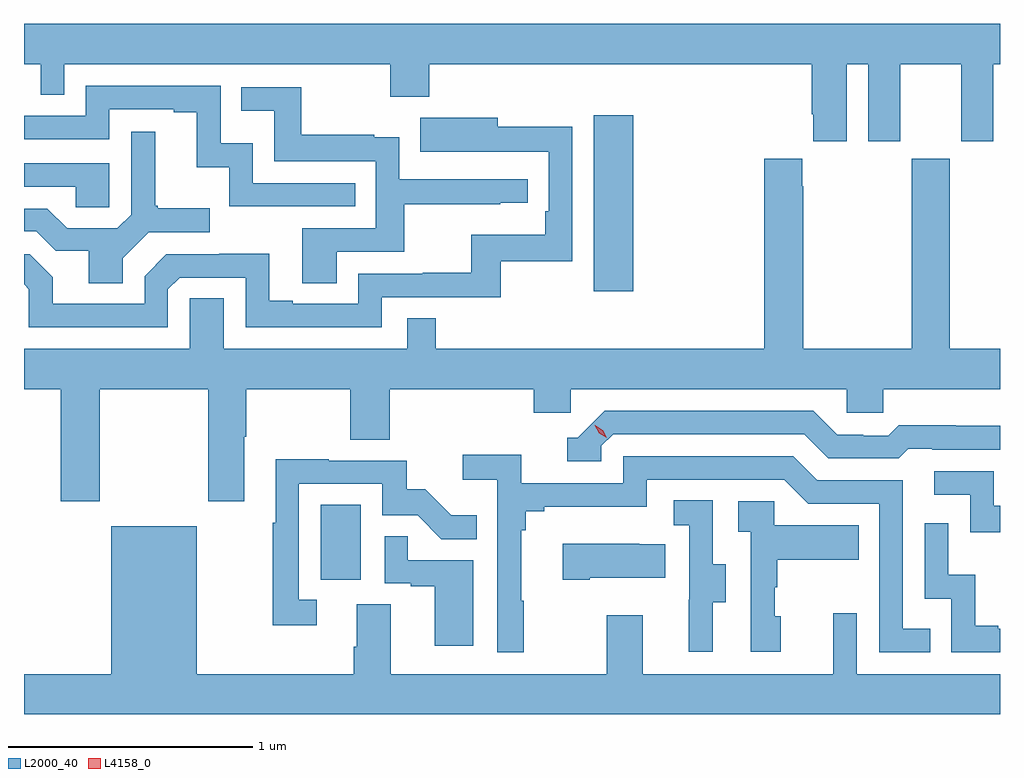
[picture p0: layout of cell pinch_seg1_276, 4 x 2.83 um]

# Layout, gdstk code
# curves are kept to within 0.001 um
import gdstk
lib = gdstk.Library(unit=1e-6, precision=1e-09)
def R(c, l, rs):  # rectangles x0, y0, x1, y1
    for r in rs: c.add(gdstk.rectangle(r[:2], r[2:], *l))
def P(c, l, *ps):  # polygons
    for p in ps: c.add(gdstk.Polygon(p, *l))
L2000_40 = (2000, 40)
L4158_0 = (4158, 0)

pinch_seg1_276 = lib.new_cell('pinch_seg1_276')
R(pinch_seg1_276, L2000_40, [(901.25,548.286,901.414,548.593), (902.369,549.468,902.53,550.189)])
P(pinch_seg1_276, L2000_40, [(903.406,550.4),(903.494,550.4),(903.494,550.083),(903.625,550.083),(903.625,550.4),(903.875,550.4),(903.875,550.083),(904.006,550.083),(904.006,550.4),(904.034,550.4),(904.034,550.564),(900.034,550.564),(900.034,550.4),(900.102,550.4),(900.102,550.273),(900.198,550.273),(900.198,550.4),(901.534,550.4),(901.534,550.265),(901.694,550.265),(901.694,550.4),(903.263,550.4),(903.263,550.195),(903.269,550.195),(903.269,550.083),(903.406,550.083)],
  [(901.391,549.912),(900.972,549.912),(900.972,550.075),(900.84,550.075),(900.84,550.311),(900.288,550.311),(900.288,550.188),(900.034,550.188),(900.034,550.092),(900.384,550.092),(900.384,550.215),(900.647,550.215),(900.647,550.203),(900.743,550.203),(900.743,549.977),(900.876,549.977),(900.876,549.816),(901.391,549.816)],
  [(901.315,549.63),(901.592,549.63),(901.592,549.826),(901.985,549.826),(901.985,549.831),(902.098,549.831),(902.098,549.927),(901.572,549.927),(901.572,550.099),(901.469,550.099),(901.469,550.111),(901.171,550.111),(901.171,550.305),(900.925,550.305),(900.925,550.208),(901.06,550.208),(901.06,550.002),(901.476,550.002),(901.476,549.726),(901.175,549.726),(901.175,549.502),(901.315,549.502)],
  [(900.624,549.477),(900.672,549.525),(900.942,549.525),(900.942,549.321),(901.5,549.321),(901.5,549.444),(901.987,549.444),(901.987,549.591),(902.28,549.591),(902.28,550.142),(901.975,550.142),(901.975,550.18),(901.657,550.18),(901.657,550.04),(902.184,550.041),(902.184,549.796),(902.171,549.796),(902.171,549.7),(901.866,549.7),(901.866,549.545),(901.669,549.545),(901.669,549.54),(901.404,549.54),(901.404,549.417),(901.135,549.417),(901.135,549.43),(901.039,549.43),(901.039,549.623),(900.834,549.623),(900.834,549.621),(900.618,549.621),(900.528,549.531),(900.528,549.417),(900.151,549.417),(900.151,549.527),(900.057,549.621),(900.034,549.621),(900.034,549.497),(900.054,549.477),(900.054,549.321),(900.624,549.321)],
  [(900.439,549.604),(900.546,549.711),(900.796,549.711),(900.796,549.808),(900.583,549.808),(900.583,549.82),(900.571,549.82),(900.571,550.123),(900.474,550.123),(900.474,549.783),(900.417,549.726),(900.211,549.726),(900.13,549.807),(900.034,549.807),(900.034,549.714),(900.084,549.714),(900.164,549.634),(900.299,549.634),(900.299,549.502),(900.439,549.502)],
  [(900.937,548.872),(900.945,548.872),(900.945,549.068),(901.372,549.068),(901.372,548.86),(901.532,548.86),(901.532,549.068),(902.123,549.068),(902.123,548.97),(902.274,548.97),(902.274,549.068),(903.405,549.068),(903.405,548.97),(903.555,548.97),(903.555,549.068),(904.034,549.068),(904.034,549.232),(903.828,549.232),(903.828,550.012),(903.673,550.012),(903.673,549.232),(903.228,549.232),(903.228,549.899),(903.223,549.899),(903.223,550.012),(903.068,550.012),(903.068,549.232),(901.721,549.232),(901.721,549.359),(901.605,549.359),(901.605,549.232),(900.853,549.232),(900.853,549.44),(900.714,549.44),(900.714,549.232),(900.034,549.232),(900.034,549.068),(900.185,549.068),(900.185,548.607),(900.345,548.607),(900.345,549.068),(900.79,549.068),(900.79,548.607),(900.937,548.607)],
  [(900.384,549.993),(900.034,549.993),(900.034,549.897),(900.247,549.897),(900.247,549.813),(900.384,549.813)],
  [(902.4,548.835),(902.448,548.883),(903.231,548.883),(903.33,548.784),(903.619,548.784),(903.658,548.823),(903.757,548.823),(903.757,548.82),(904.034,548.82),(904.034,548.917),(903.852,548.917),(903.852,548.92),(903.619,548.92),(903.577,548.877),(903.474,548.877),(903.474,548.88),(903.367,548.88),(903.268,548.979),(902.415,548.979),(902.304,548.868),(902.261,548.868),(902.261,548.772),(902.4,548.772)],
  [(902.083,548.201),(902.071,548.201),(902.071,548.489),(902.09,548.489),(902.09,548.566),(902.167,548.566),(902.167,548.585),(902.586,548.585),(902.586,548.697),(903.15,548.697),(903.249,548.598),(903.54,548.598),(903.54,547.989),(903.749,547.989),(903.749,548.085),(903.636,548.085),(903.636,548.694),(903.286,548.694),(903.187,548.793),(902.49,548.793),(902.49,548.682),(902.072,548.682),(902.072,548.798),(901.833,548.798),(901.833,548.696),(901.974,548.696),(901.974,547.989),(902.083,547.989)],
  [(901.234,548.205),(901.161,548.205),(901.161,548.679),(901.503,548.679),(901.503,548.55),(901.647,548.55),(901.745,548.452),(901.889,548.452),(901.889,548.551),(901.785,548.551),(901.678,548.658),(901.602,548.658),(901.602,548.775),(901.283,548.775),(901.283,548.78),(901.065,548.78),(901.065,548.519),(901.053,548.519),(901.053,548.1),(901.234,548.1)],
  [(904.034,548.589),(904.008,548.589),(904.008,548.73),(903.765,548.73),(903.765,548.634),(903.912,548.634),(903.912,548.481),(904.034,548.481)],
  [(902.857,548.194),(902.911,548.194),(902.911,548.349),(902.856,548.349),(902.856,548.612),(902.697,548.612),(902.697,548.509),(902.76,548.509),(902.76,548.205),(902.759,548.205),(902.759,547.992),(902.857,547.992)],
  [(903.136,548.136),(903.111,548.136),(903.111,548.255),(903.121,548.255),(903.121,548.369),(903.455,548.369),(903.455,548.509),(903.108,548.509),(903.108,548.607),(902.961,548.607),(902.961,548.483),(903.012,548.483),(903.012,547.992),(903.136,547.992)],
  [(904.034,548.085),(904.027,548.085),(904.027,548.098),(903.932,548.098),(903.932,548.306),(903.822,548.306),(903.822,548.518),(903.726,548.518),(903.726,548.208),(903.834,548.208),(903.834,547.989),(904.034,547.989)],
  [(904.034,547.9),(903.447,547.9),(903.447,548.149),(903.35,548.149),(903.35,547.9),(902.569,547.9),(902.569,548.14),(902.422,548.14),(902.422,547.9),(901.537,547.9),(901.537,548.186),(901.397,548.186),(901.397,548.012),(901.385,548.012),(901.385,547.9),(900.742,547.9),(900.742,548.506),(900.392,548.506),(900.392,547.9),(900.034,547.9),(900.034,547.736),(904.034,547.736)],
  [(901.876,548.367),(901.607,548.367),(901.607,548.465),(901.512,548.465),(901.512,548.271),(901.619,548.271),(901.619,548.259),(901.718,548.259),(901.718,548.016),(901.876,548.016)],
  [(902.353,548.294),(902.663,548.294),(902.663,548.431),(902.555,548.431),(902.555,548.434),(902.241,548.434),(902.241,548.287),(902.353,548.287)])
P(pinch_seg1_276, L4158_0, [(902.422,548.868),(902.391,548.887),(902.374,548.919),(902.374,548.919),(902.375,548.919),(902.406,548.9),(902.423,548.868),(902.423,548.868)])

lib.write_gds('pinch_seg1_276.gds')
